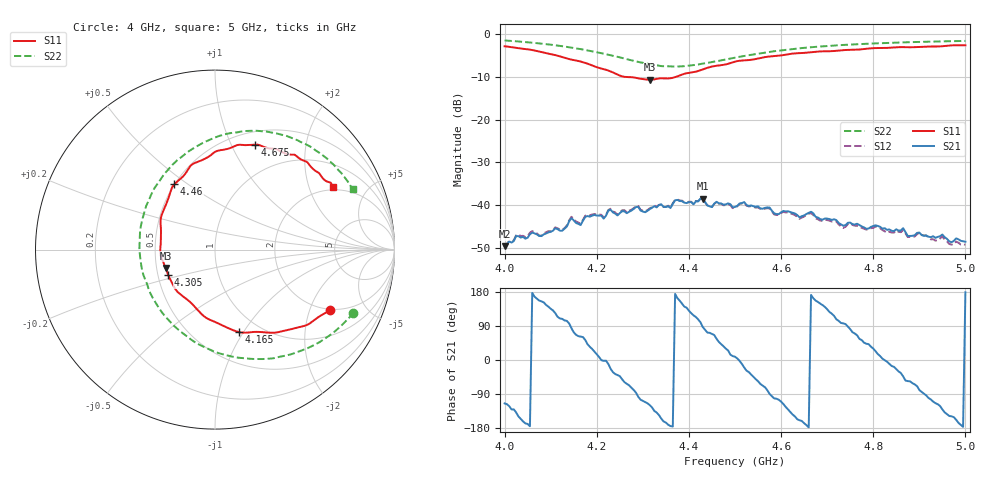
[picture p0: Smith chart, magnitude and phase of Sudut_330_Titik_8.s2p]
# Hz S RI R 50
! CMT, C1220, 16058040, 17.2.0/1
! Date: 15/08/2018 11:45:13
! Data: Format (Calibration Info)
! Freq  S11: Re/Im (F2)  S21: Re/Im (F2)  S12: Re/Im (F2)  S22: Re/Im (F2)
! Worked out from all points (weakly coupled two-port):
!   201 points, 4 GHz to 5 GHz, reference 50 ohm
!   highest |S21| = -38.47 dB at 4.43 GHz (marker M1); lowest = -49.6 dB at 4 GHz (marker M2)
!   lowest |S11| = -10.6 dB at 4.315 GHz (marker M3), VSWR 1.83, Z = 27.9 - j6.27 ohm
!   |S11| at or under -10 dB: 4.265 GHz to 4.371 GHz (105.8 MHz wide, 2.45 % of centre)
!   |S22| runs from -7.6 to -1.4 dB; largest |S21 - S12| = 0.00044
!   S11 on the Smith chart (normalised r, x): 4 GHz: 1.96, -2.78; 4.165 GHz: 0.80, -0.96; 4.305 GHz: 0.57, -0.18; 4.46 GHz: 0.50, +0.44; 4.675 GHz: 0.64, +1.23; 5 GHz: 1.88, +2.92
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4e9  0.6408 -0.337  -0.00137 -0.003  -0.0013 -0.00317  0.7709 -0.352
4.025e9  0.5875 -0.3685  -0.00323 -0.00288  -0.00318 -0.00309  0.723 -0.4055
4.125e9  0.2837 -0.4618  -0.00159 0.00474  -0.00177 0.00481  0.4382 -0.5784
4.145e9  0.2112 -0.4591  0.000726 0.00701  0.000554 0.00727  0.3623 -0.5966
4.165e9  0.1357 -0.4602  0.00277 0.00514  0.00283 0.0053  0.2843 -0.6089
4.17e9  0.1198 -0.4557  0.00323 0.00571  0.00321 0.00589  0.2636 -0.6097
4.215e9  -0.0313 -0.3897  0.00694 -0.000268  0.00716 -0.000162  0.0664 -0.5892
4.23e9  -0.0738 -0.3603  0.00813 -0.00346  0.00837 -0.00346  -0.000227 -0.5696
4.245e9  -0.1126 -0.3184  0.00581 -0.00485  0.00593 -0.0049  -0.0637 -0.5414
4.305e9  -0.2597 -0.1433  -0.003 -0.00768  -0.0032 -0.00785  -0.2942 -0.3514
4.315e9  -0.2756 -0.1026  -0.00436 -0.00784  -0.00455 -0.00796  -0.3234 -0.3081
4.335e9  -0.3022 -0.0359  -0.00827 -0.00568  -0.00832 -0.00563  -0.371 -0.2154
4.43e9  -0.2586 0.2891  0.000622 0.0119  0.000866 0.0118  -0.3834 0.2433
4.45e9  -0.2404 0.3441  0.00346 0.00884  0.00367 0.00874  -0.348 0.3227
4.46e9  -0.2266 0.3636  0.00613 0.00906  0.00633 0.00883  -0.3245 0.3608
4.5e9  -0.1436 0.4563  0.0094 0.00143  0.00928 0.00136  -0.2239 0.4852
4.52e9  -0.1133 0.4823  0.0102 -0.00368  0.00999 -0.00373  -0.1674 0.5319
4.59e9  0.0457 0.5559  -0.00166 -0.00767  -0.00174 -0.00746  0.0393 0.6377
4.67e9  0.2136 0.5841  -0.00764 0.00236  -0.00728 0.00236  0.2597 0.6593
4.675e9  0.2216 0.585  -0.00669 0.00288  -0.00637 0.00282  0.2723 0.6592
4.835e9  0.4842 0.4997  0.0051 -0.000929  0.0048 -0.000763  0.5858 0.5358
5e9  0.6574 0.3468  -0.00372 9.19e-05  -0.00343 -4.6e-05  0.7663 0.3378
